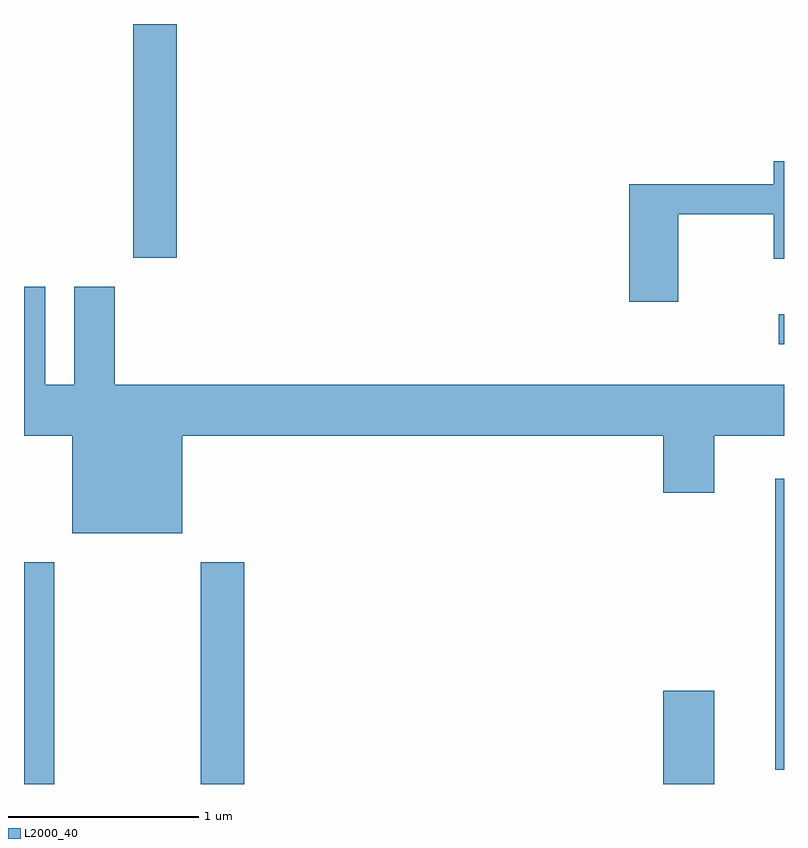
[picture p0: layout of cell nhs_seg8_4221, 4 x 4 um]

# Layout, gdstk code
import gdstk
lib = gdstk.Library(unit=1e-6, precision=1e-09)
def R(c, l, rs):  # rectangles x0, y0, x1, y1
    for r in rs: c.add(gdstk.rectangle(r[:2], r[2:], *l))
def P(c, l, *ps):  # polygons
    for p in ps: c.add(gdstk.Polygon(p, *l))
L2000_40 = (2000, 40)

nhs_seg8_4221 = lib.new_cell('nhs_seg8_4221')
R(nhs_seg8_4221, L2000_40, [(311.611,1852.342,311.769,1853.509), (312.541,1852.342,312.769,1853.509), (314.976,1852.342,315.244,1852.834), (315.566,1852.416,315.611,1853.949), (315.583,1854.656,315.611,1854.814), (312.186,1855.111,312.414,1856.342)])
P(nhs_seg8_4221, L2000_40, [(315.054,1855.341),(315.556,1855.341),(315.556,1855.106),(315.611,1855.106),(315.611,1855.619),(315.556,1855.619),(315.556,1855.499),(314.796,1855.499),(314.796,1854.881),(315.054,1854.881)],
  [(312.444,1854.176),(314.976,1854.176),(314.976,1853.876),(315.244,1853.876),(315.244,1854.176),(315.611,1854.176),(315.611,1854.444),(312.089,1854.444),(312.089,1854.959),(311.876,1854.959),(311.876,1854.444),(311.724,1854.444),(311.724,1854.959),(311.611,1854.959),(311.611,1854.176),(311.866,1854.176),(311.866,1853.661),(312.444,1853.661)])

lib.write_gds('nhs_seg8_4221.gds')
